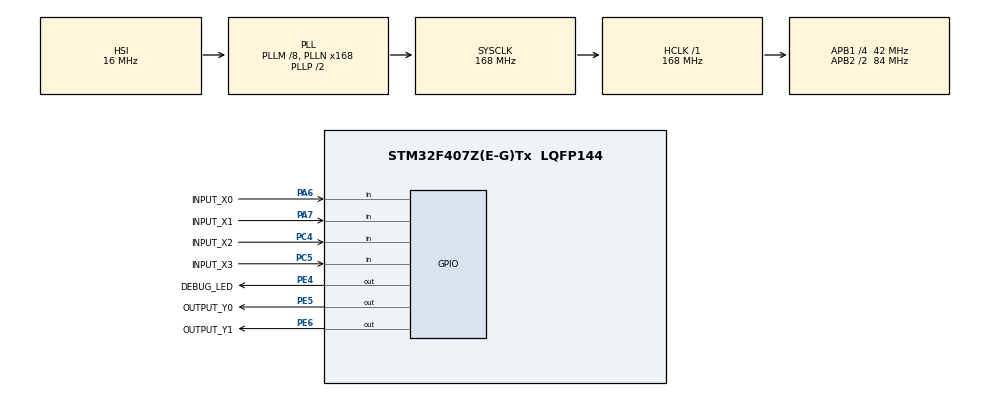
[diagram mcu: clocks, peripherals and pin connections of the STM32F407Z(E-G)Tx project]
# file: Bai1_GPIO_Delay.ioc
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Mcu.Family=STM32F4
Mcu.Name=STM32F407Z(E-G)Tx
Mcu.Package=LQFP144
NVIC.PriorityGroup=NVIC_PRIORITYGROUP_4
PA13.Mode=Serial_Wire
PA13.Signal=SYS_JTMS-SWDIO
PA14.Mode=Serial_Wire
PA14.Signal=SYS_JTCK-SWCLK
PA6.GPIO_Label=INPUT_X0
PA6.Signal=GPIO_Input
PA7.GPIO_Label=INPUT_X1
PA7.Signal=GPIO_Input
PC4.GPIO_Label=INPUT_X2
PC4.Signal=GPIO_Input
PC5.GPIO_Label=INPUT_X3
PC5.Signal=GPIO_Input
PE4.GPIO_Label=DEBUG_LED
PE4.Signal=GPIO_Output
PE5.GPIO_Label=OUTPUT_Y0
PE5.Signal=GPIO_Output
PE6.GPIO_Label=OUTPUT_Y1
PE6.Signal=GPIO_Output
PH0-OSC_IN.Mode=HSE-External-Oscillator
PH0-OSC_IN.Signal=RCC_OSC_IN
PH1-OSC_OUT.Mode=HSE-External-Oscillator
PH1-OSC_OUT.Signal=RCC_OSC_OUT
ProjectManager.HeapSize=0x200
ProjectManager.StackSize=0x400
ProjectManager.TargetToolchain=STM32CubeIDE
RCC.48MHZClocksFreq_Value=84000000
RCC.AHBFreq_Value=168000000
RCC.APB1CLKDivider=RCC_HCLK_DIV4
RCC.APB1Freq_Value=42000000
RCC.APB1TimFreq_Value=84000000
RCC.APB2CLKDivider=RCC_HCLK_DIV2
RCC.APB2Freq_Value=84000000
RCC.APB2TimFreq_Value=168000000
RCC.CortexFreq_Value=168000000
RCC.HCLKFreq_Value=168000000
RCC.HSE_VALUE=8000000
RCC.HSI_VALUE=16000000
RCC.LSE_VALUE=32768
RCC.PLLM=8
RCC.PLLN=168
RCC.SYSCLKFreq_VALUE=168000000
RCC.SYSCLKSource=RCC_SYSCLKSOURCE_PLLCLK
RCC.VCOOutputFreq_Value=336000000
board=custom

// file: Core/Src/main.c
/* USER CODE BEGIN Header */
/**
  ******************************************************************************
  * @file           : main.c
  * @brief          : Main program body
  ******************************************************************************
  * @attention
  *
  * Copyright (c) 2026 STMicroelectronics.
  * All rights reserved.
  *
  * This software is licensed under terms that can be found in the LICENSE file
  * in the root directory of this software component.
  * If no LICENSE file comes with this software, it is provided AS-IS.
  *
  ******************************************************************************
  */
/* USER CODE END Header */
#include "main.h"
#include "gpio.h"

/* USER CODE BEGIN Includes */
#define EXERCISE 3
/* USER CODE END Includes */

void SystemClock_Config(void);

int main(void)
{

  /* MCU Configuration--------------------------------------------------------*/

  /* Reset of all peripherals, Initializes the Flash interface and the Systick. */
  HAL_Init();

  /* Configure the system clock */
  SystemClock_Config();

  /* Initialize all configured peripherals */
  MX_GPIO_Init();
  /* USER CODE BEGIN 2 */
#if (EXERCISE == 2)
  uint8_t count = 0;
#elif (EXERCISE == 3)
  uint8_t count = 0;
#endif
  /* USER CODE END 2 */

  /* Infinite loop */
  /* USER CODE BEGIN WHILE */
  while (1)
  {
#if (EXERCISE == 1)
    HAL_GPIO_WritePin(DEBUG_LED_GPIO_Port, DEBUG_LED_Pin, GPIO_PIN_SET);
    HAL_Delay(2000);
    HAL_GPIO_WritePin(DEBUG_LED_GPIO_Port, DEBUG_LED_Pin, GPIO_PIN_RESET);
    HAL_Delay(4000);

#elif (EXERCISE == 2)
    if (count < 2)
    {
      HAL_GPIO_WritePin(DEBUG_LED_GPIO_Port, DEBUG_LED_Pin, GPIO_PIN_SET);
    }
    else
    {
      HAL_GPIO_WritePin(DEBUG_LED_GPIO_Port, DEBUG_LED_Pin, GPIO_PIN_RESET);
    }
    count = (count + 1) % 6;
    HAL_Delay(1000);

#elif (EXERCISE == 3)
    if (count < 5)
    {
      HAL_GPIO_WritePin(DEBUG_LED_GPIO_Port, DEBUG_LED_Pin, GPIO_PIN_SET);
      HAL_GPIO_WritePin(OUTPUT_Y0_GPIO_Port, OUTPUT_Y0_Pin, GPIO_PIN_RESET);
      HAL_GPIO_WritePin(OUTPUT_Y1_GPIO_Port, OUTPUT_Y1_Pin, GPIO_PIN_RESET);
    }
    else if (count < 8)
    {
      HAL_GPIO_WritePin(DEBUG_LED_GPIO_Port, DEBUG_LED_Pin, GPIO_PIN_RESET);
      HAL_GPIO_WritePin(OUTPUT_Y0_GPIO_Port, OUTPUT_Y0_Pin, GPIO_PIN_SET);
      HAL_GPIO_WritePin(OUTPUT_Y1_GPIO_Port, OUTPUT_Y1_Pin, GPIO_PIN_RESET);
    }
    else
    {
      HAL_GPIO_WritePin(DEBUG_LED_GPIO_Port, DEBUG_LED_Pin, GPIO_PIN_RESET);
      HAL_GPIO_WritePin(OUTPUT_Y0_GPIO_Port, OUTPUT_Y0_Pin, GPIO_PIN_RESET);
      HAL_GPIO_WritePin(OUTPUT_Y1_GPIO_Port, OUTPUT_Y1_Pin, GPIO_PIN_SET);
    }
    count = (count + 1) % 9;
    HAL_Delay(1000);
#endif
    /* USER CODE END WHILE */

  }
}

void SystemClock_Config(void)
{
  RCC_OscInitTypeDef RCC_OscInitStruct = {0};
  RCC_ClkInitTypeDef RCC_ClkInitStruct = {0};

  /** Configure the main internal regulator output voltage
  */
  __HAL_RCC_PWR_CLK_ENABLE();
  __HAL_PWR_VOLTAGESCALING_CONFIG(PWR_REGULATOR_VOLTAGE_SCALE1);

  /** Initializes the RCC Oscillators according to the specified parameters
  * in the RCC_OscInitTypeDef structure.
  */
  RCC_OscInitStruct.OscillatorType = RCC_OSCILLATORTYPE_HSI;
  RCC_OscInitStruct.HSIState = RCC_HSI_ON;
  RCC_OscInitStruct.HSICalibrationValue = RCC_HSICALIBRATION_DEFAULT;
  RCC_OscInitStruct.PLL.PLLState = RCC_PLL_ON;
  RCC_OscInitStruct.PLL.PLLSource = RCC_PLLSOURCE_HSI;
  RCC_OscInitStruct.PLL.PLLM = 8;
  RCC_OscInitStruct.PLL.PLLN = 168;
  RCC_OscInitStruct.PLL.PLLP = RCC_PLLP_DIV2;
  RCC_OscInitStruct.PLL.PLLQ = 4;
  if (HAL_RCC_OscConfig(&RCC_OscInitStruct) != HAL_OK)
  {
    Error_Handler();
  }

  /** Initializes the CPU, AHB and APB buses clocks
  */
  RCC_ClkInitStruct.ClockType = RCC_CLOCKTYPE_HCLK|RCC_CLOCKTYPE_SYSCLK
                              |RCC_CLOCKTYPE_PCLK1|RCC_CLOCKTYPE_PCLK2;
  RCC_ClkInitStruct.SYSCLKSource = RCC_SYSCLKSOURCE_PLLCLK;
  RCC_ClkInitStruct.AHBCLKDivider = RCC_SYSCLK_DIV1;
  RCC_ClkInitStruct.APB1CLKDivider = RCC_HCLK_DIV4;
  RCC_ClkInitStruct.APB2CLKDivider = RCC_HCLK_DIV2;

  if (HAL_RCC_ClockConfig(&RCC_ClkInitStruct, FLASH_LATENCY_5) != HAL_OK)
  {
    Error_Handler();
  }
}

void Error_Handler(void)
{
  __disable_irq();
  while (1)
  {
  }
}
